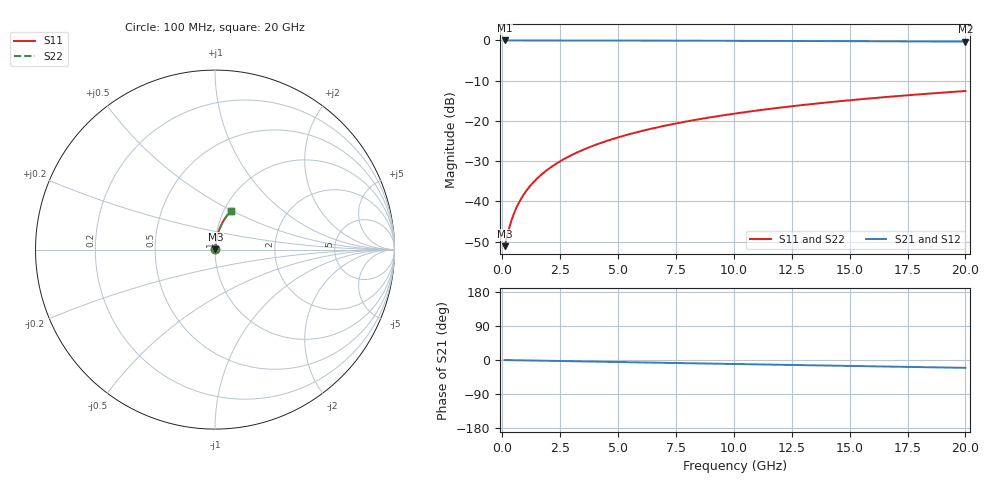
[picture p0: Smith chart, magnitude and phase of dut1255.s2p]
! Touchstone file exported from HFSS 2026.1.0
!  File:  C:/ffzhzh/LocalFiles/Ansys_Project_Files/temp_train_BSMRDL_1255_1783177395_51560.aedt
!  Generated:  11:04:28 PM Jul  4, 2026
!  Design:  BSMRDL
!  Project:  temp_train_BSMRDL_1255_1783177395_51560
! Variables:
!  h_bsmrdl = 2.69um
!  h_ox = 20um
!  h_rdl = 5um
!  h_sub = 80um
!  h_tmrdl = 5um
!  h_tsv = 80um
!  h_via = 3um
!  l_bsmrdl = 248.13um
!  l_sub = 648.13um
!  l_tmrdl = 200um
!  m_sub = 200um
!  pitch = 40.76um
!  r_tsv = 6um
!  s_tmrdl = 10um
!  w_bsmrdl = 14.68um
!  w_sub = 500um
!  w_tmrdl = 12um
!  x_tsv_center1 = 206um
!  x_tsv_center2 = 468.81um
!  x_tsv_center3 = 680.81um
!  x_tsv_center4 = 943.62um
!  x_tsv_center5 = 1155.62um
!  x_tsv_center6 = 1418.43um
# GHz S MA R 50.000000
! Terminal data exported
! Port[1] = BSM_RDL1_1_T1
! Port[2] = BSM_RDL1_1_T2
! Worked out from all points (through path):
!   200 points, 100 MHz to 20 GHz, reference 50 ohm
!   highest |S21| = -0.02 dB at 100 MHz (marker M1); lowest = -0.3 dB at 20 GHz (marker M2)
!   group delay of S21, straight-line fit = 2.87 ps
!   lowest |S11| = -51.1 dB at 100 MHz (marker M3), VSWR 1.01, Z = 50.2 + j0.134 ohm
!   |S11| at or under -10 dB: start of sweep to end of sweep
!   |S22| runs from -51.1 to -12.6 dB; largest |S21 - S12| = 3.4e-15
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0.1  0.002789 28.5  0.9976 -0.1  0.9976 -0.1  0.002789 28.5
! Gamma 0 0 0 0
! Port Impedance 50 0 50 0
0.3  0.004709 57.2  0.9975 -0.3  0.9975 -0.3  0.004709 57.2
0.4  0.005866 63.4  0.9974 -0.4  0.9974 -0.4  0.005866 63.4
0.5  0.007057 67.5  0.9973 -0.6  0.9973 -0.6  0.007057 67.5
0.6  0.008261 70.3  0.9973 -0.7  0.9973 -0.7  0.008261 70.3
0.7  0.009472 72.4  0.9972 -0.8  0.9972 -0.8  0.009472 72.4
0.9  0.0119 75.3  0.9971 -1.0  0.9971 -1.0  0.0119 75.3
1.2  0.01557 78.0  0.997 -1.3  0.997 -1.3  0.01557 78.0
1.4  0.01802 79.1  0.9969 -1.5  0.9969 -1.5  0.01802 79.1
1.7  0.02171 80.2  0.9968 -1.8  0.9968 -1.8  0.02171 80.2
2.2  0.02789 81.3  0.9966 -2.4  0.9966 -2.4  0.02789 81.3
2.8  0.03532 81.9  0.9962 -3.0  0.9962 -3.0  0.03532 81.9
3.5  0.04399 82.0  0.9958 -3.7  0.9958 -3.7  0.04399 82.0
4.2  0.05264 81.8  0.9952 -4.5  0.9952 -4.5  0.05264 81.8
5  0.0625 81.4  0.9945 -5.3  0.9945 -5.3  0.0625 81.4
5.9  0.07354 80.8  0.9936 -6.3  0.9936 -6.3  0.07354 80.8
6.8  0.08452 80.1  0.9925 -7.2  0.9925 -7.2  0.08452 80.1
8.3  0.1027 78.8  0.9904 -8.8  0.9904 -8.8  0.1027 78.8
10.1  0.1241 77.1  0.9875 -10.7  0.9875 -10.7  0.1241 77.1
13.4  0.1625 73.9  0.9811 -14.1  0.9811 -14.1  0.1625 73.9
16.7  0.1995 70.8  0.9735 -17.4  0.9735 -17.4  0.1995 70.8
20  0.2351 67.6  0.9649 -20.7  0.9649 -20.7  0.2351 67.6
